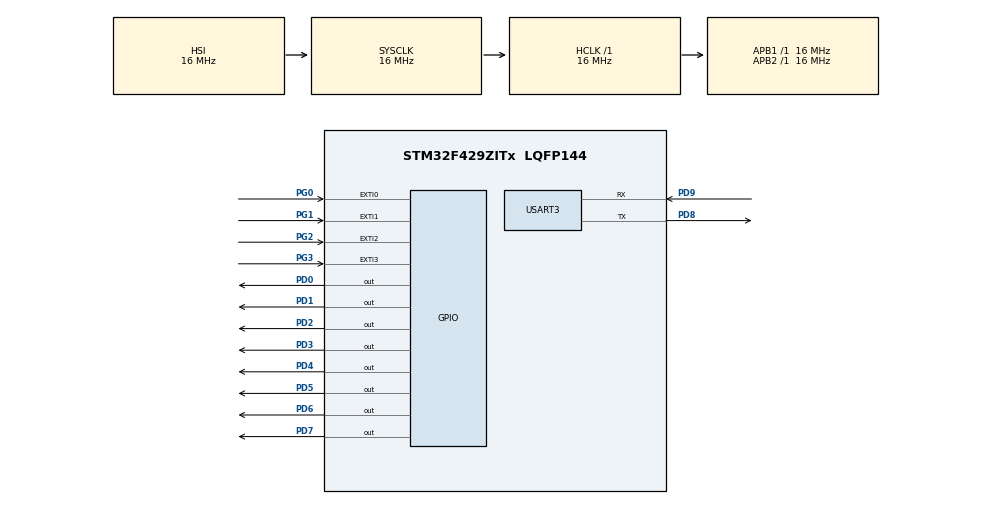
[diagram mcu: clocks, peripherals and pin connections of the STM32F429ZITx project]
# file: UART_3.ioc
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Mcu.Family=STM32F4
Mcu.Name=STM32F429ZITx
Mcu.Package=LQFP144
NVIC.EXTI0_IRQn=true\:0\:0\:false\:false\:true\:true\:true\:true
NVIC.EXTI1_IRQn=true\:0\:0\:false\:false\:true\:true\:true\:true
NVIC.EXTI2_IRQn=true\:0\:0\:false\:false\:true\:true\:true\:true
NVIC.EXTI3_IRQn=true\:0\:0\:false\:false\:true\:true\:true\:true
NVIC.PriorityGroup=NVIC_PRIORITYGROUP_4
NVIC.USART3_IRQn=true\:0\:0\:false\:false\:true\:true\:true\:true
PA13.Mode=Serial_Wire
PA13.Signal=SYS_JTMS-SWDIO
PA14.Mode=Serial_Wire
PA14.Signal=SYS_JTCK-SWCLK
PD0.GPIO_ModeDefaultOutputPP=GPIO_MODE_OUTPUT_PP
PD0.GPIO_PuPd=GPIO_PULLUP
PD0.GPIO_Speed=GPIO_SPEED_FREQ_HIGH
PD0.PinState=GPIO_PIN_RESET
PD0.Signal=GPIO_Output
PD1.GPIO_ModeDefaultOutputPP=GPIO_MODE_OUTPUT_PP
PD1.GPIO_PuPd=GPIO_PULLUP
PD1.GPIO_Speed=GPIO_SPEED_FREQ_HIGH
PD1.PinState=GPIO_PIN_RESET
PD1.Signal=GPIO_Output
PD2.GPIO_ModeDefaultOutputPP=GPIO_MODE_OUTPUT_PP
PD2.GPIO_PuPd=GPIO_PULLUP
PD2.GPIO_Speed=GPIO_SPEED_FREQ_HIGH
PD2.PinState=GPIO_PIN_RESET
PD2.Signal=GPIO_Output
PD3.GPIO_ModeDefaultOutputPP=GPIO_MODE_OUTPUT_PP
PD3.GPIO_PuPd=GPIO_PULLUP
PD3.GPIO_Speed=GPIO_SPEED_FREQ_HIGH
PD3.PinState=GPIO_PIN_RESET
PD3.Signal=GPIO_Output
PD4.GPIO_ModeDefaultOutputPP=GPIO_MODE_OUTPUT_PP
PD4.GPIO_PuPd=GPIO_PULLUP
PD4.GPIO_Speed=GPIO_SPEED_FREQ_HIGH
PD4.PinState=GPIO_PIN_RESET
PD4.Signal=GPIO_Output
PD5.GPIO_ModeDefaultOutputPP=GPIO_MODE_OUTPUT_PP
PD5.GPIO_PuPd=GPIO_PULLUP
PD5.GPIO_Speed=GPIO_SPEED_FREQ_HIGH
PD5.PinState=GPIO_PIN_RESET
PD5.Signal=GPIO_Output
PD6.GPIO_ModeDefaultOutputPP=GPIO_MODE_OUTPUT_PP
PD6.GPIO_PuPd=GPIO_PULLUP
PD6.GPIO_Speed=GPIO_SPEED_FREQ_HIGH
PD6.PinState=GPIO_PIN_RESET
PD6.Signal=GPIO_Output
PD7.GPIO_ModeDefaultOutputPP=GPIO_MODE_OUTPUT_PP
PD7.GPIO_PuPd=GPIO_PULLUP
PD7.GPIO_Speed=GPIO_SPEED_FREQ_HIGH
PD7.PinState=GPIO_PIN_RESET
PD7.Signal=GPIO_Output
PD8.Mode=Asynchronous
PD8.Signal=USART3_TX
PD9.Mode=Asynchronous
PD9.Signal=USART3_RX
PG0.GPIO_ModeDefaultEXTI=GPIO_MODE_IT_FALLING
PG0.GPIO_PuPd=GPIO_NOPULL
PG0.Signal=GPXTI0
PG1.GPIO_ModeDefaultEXTI=GPIO_MODE_IT_FALLING
PG1.GPIO_PuPd=GPIO_NOPULL
PG1.Signal=GPXTI1
PG2.GPIO_ModeDefaultEXTI=GPIO_MODE_IT_FALLING
PG2.GPIO_PuPd=GPIO_NOPULL
PG2.Signal=GPXTI2
PG3.GPIO_ModeDefaultEXTI=GPIO_MODE_IT_FALLING
PG3.GPIO_PuPd=GPIO_NOPULL
PG3.Signal=GPXTI3
ProjectManager.HeapSize=0x200
ProjectManager.StackSize=0x400
ProjectManager.TargetToolchain=STM32CubeIDE
RCC.AHBFreq_Value=16000000
RCC.APB1Freq_Value=16000000
RCC.APB2Freq_Value=16000000
RCC.CortexFreq_Value=16000000
RCC.HSE_VALUE=25000000
RCC.HSI_VALUE=16000000
RCC.LSE_VALUE=32768
RCC.SYSCLKFreq_VALUE=16000000
RCC.VCOOutputFreq_Value=192000000
USART3.VirtualMode=VM_ASYNC
board=custom

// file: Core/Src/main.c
/* USER CODE BEGIN Header */
/**
  ******************************************************************************
  * @file           : main.c
  * @brief          : Main program body
  ******************************************************************************
  * @attention
  *
  * Copyright (c) 2022 STMicroelectronics.
  * All rights reserved.
  *
  * This software is licensed under terms that can be found in the LICENSE file
  * in the root directory of this software component.
  * If no LICENSE file comes with this software, it is provided AS-IS.
  *
  ******************************************************************************
  */
/* USER CODE END Header */
#include "main.h"

/* USER CODE BEGIN PD */
#define TxBufferSize	(countof(TxBuffer)-1)
#define RxBufferSize	0XFF
#define countof(a)		(sizeof(a) / sizeof(*(a)))
/* USER CODE END PD */

UART_HandleTypeDef huart3;

/* USER CODE BEGIN PV */
uint8_t TxBuffer[] = "\n\rUART Example 3 (Transmission Success !!)\n\r\n\r";
uint8_t RxBuffer[RxBufferSize];
uint8_t TxBuffer_L[] = "L";
uint8_t TxBuffer_H[] = "H";

uint8_t RxBuffer_UART3[] = "0";
/* USER CODE END PV */

void SystemClock_Config(void);
static void MX_GPIO_Init(void);
static void MX_USART3_UART_Init(void);
/* USER CODE BEGIN PFP */
void LED_OnOff(int, int);
/* USER CODE END PFP */

int main(void)
{

  /* MCU Configuration--------------------------------------------------------*/

  /* Reset of all peripherals, Initializes the Flash interface and the Systick. */
  HAL_Init();

  /* Configure the system clock */
  SystemClock_Config();

  /* Initialize all configured peripherals */
  MX_GPIO_Init();
  MX_USART3_UART_Init();
  /* USER CODE BEGIN 2 */
  LED_OnOff(LED_ALL, 500);
  HAL_UART_Transmit(&huart3, (uint8_t*)TxBuffer, TxBufferSize, 0xFFFF);
  /* USER CODE END 2 */

  /* Infinite loop */
  /* USER CODE BEGIN WHILE */
  while (1)
  {
	  if(HAL_UART_Receive(&huart3, (uint8_t*)RxBuffer, 1, 5000) == HAL_OK)
	  {
		  HAL_UART_Transmit(&huart3, (uint8_t*)TxBuffer_H, 1, 0xFF);
		  HAL_Delay(10);

		  if(HAL_UART_Receive(&huart3, (uint8_t*)RxBuffer_UART3, 1, 0xFF) == HAL_OK){
			  if(strcmp(RxBuffer_UART3, "H") == 0) HAL_GPIO_WritePin(GPIO_LED, LED_ALL, GPIO_PIN_SET);
			  else if(strcmp(RxBuffer_UART3, "L") == 0) HAL_GPIO_WritePin(GPIO_LED, LED_ALL, GPIO_PIN_RESET);
		  }
		  //HAL_UART_Transmit(&huart3, (uint8_t*)RxBuffer, 1, 5000);
		  //HAL_UART_Transmit(&huart3, (uint8_t*)RxBuffer, 1, 5000);
	  }
    /* USER CODE END WHILE */

  }
}

void SystemClock_Config(void)
{
  RCC_OscInitTypeDef RCC_OscInitStruct = {0};
  RCC_ClkInitTypeDef RCC_ClkInitStruct = {0};

  /** Configure the main internal regulator output voltage
  */
  __HAL_RCC_PWR_CLK_ENABLE();
  __HAL_PWR_VOLTAGESCALING_CONFIG(PWR_REGULATOR_VOLTAGE_SCALE3);

  /** Initializes the RCC Oscillators according to the specified parameters
  * in the RCC_OscInitTypeDef structure.
  */
  RCC_OscInitStruct.OscillatorType = RCC_OSCILLATORTYPE_HSI;
  RCC_OscInitStruct.HSIState = RCC_HSI_ON;
  RCC_OscInitStruct.HSICalibrationValue = RCC_HSICALIBRATION_DEFAULT;
  RCC_OscInitStruct.PLL.PLLState = RCC_PLL_NONE;
  if (HAL_RCC_OscConfig(&RCC_OscInitStruct) != HAL_OK)
  {
    Error_Handler();
  }

  /** Initializes the CPU, AHB and APB buses clocks
  */
  RCC_ClkInitStruct.ClockType = RCC_CLOCKTYPE_HCLK|RCC_CLOCKTYPE_SYSCLK
                              |RCC_CLOCKTYPE_PCLK1|RCC_CLOCKTYPE_PCLK2;
  RCC_ClkInitStruct.SYSCLKSource = RCC_SYSCLKSOURCE_HSI;
  RCC_ClkInitStruct.AHBCLKDivider = RCC_SYSCLK_DIV1;
  RCC_ClkInitStruct.APB1CLKDivider = RCC_HCLK_DIV1;
  RCC_ClkInitStruct.APB2CLKDivider = RCC_HCLK_DIV1;

  if (HAL_RCC_ClockConfig(&RCC_ClkInitStruct, FLASH_LATENCY_0) != HAL_OK)
  {
    Error_Handler();
  }
}

static void MX_USART3_UART_Init(void)
{

  huart3.Instance = USART3;
  huart3.Init.BaudRate = 115200;
  huart3.Init.WordLength = UART_WORDLENGTH_8B;
  huart3.Init.StopBits = UART_STOPBITS_1;
  huart3.Init.Parity = UART_PARITY_NONE;
  huart3.Init.Mode = UART_MODE_TX_RX;
  huart3.Init.HwFlowCtl = UART_HWCONTROL_NONE;
  huart3.Init.OverSampling = UART_OVERSAMPLING_16;
  if (HAL_UART_Init(&huart3) != HAL_OK)
  {
    Error_Handler();
  }

}

static void MX_GPIO_Init(void)
{
  GPIO_InitTypeDef GPIO_InitStruct = {0};

  /* GPIO Ports Clock Enable */
  __HAL_RCC_GPIOG_CLK_ENABLE();
  __HAL_RCC_GPIOD_CLK_ENABLE();
  __HAL_RCC_GPIOA_CLK_ENABLE();

  /*Configure GPIO pin Output Level */
  HAL_GPIO_WritePin(GPIOD, GPIO_PIN_0|GPIO_PIN_1|GPIO_PIN_2|GPIO_PIN_3
                          |GPIO_PIN_4|GPIO_PIN_5|GPIO_PIN_6|GPIO_PIN_7, GPIO_PIN_RESET);

  /*Configure GPIO pins : PG0 PG1 PG2 PG3 */
  GPIO_InitStruct.Pin = GPIO_PIN_0|GPIO_PIN_1|GPIO_PIN_2|GPIO_PIN_3;
  GPIO_InitStruct.Mode = GPIO_MODE_IT_FALLING;
  GPIO_InitStruct.Pull = GPIO_NOPULL;
  HAL_GPIO_Init(GPIOG, &GPIO_InitStruct);

  /*Configure GPIO pins : PD0 PD1 PD2 PD3
                           PD4 PD5 PD6 PD7 */
  GPIO_InitStruct.Pin = GPIO_PIN_0|GPIO_PIN_1|GPIO_PIN_2|GPIO_PIN_3
                          |GPIO_PIN_4|GPIO_PIN_5|GPIO_PIN_6|GPIO_PIN_7;
  GPIO_InitStruct.Mode = GPIO_MODE_OUTPUT_PP;
  GPIO_InitStruct.Pull = GPIO_PULLUP;
  GPIO_InitStruct.Speed = GPIO_SPEED_FREQ_HIGH;
  HAL_GPIO_Init(GPIOD, &GPIO_InitStruct);

  /* EXTI interrupt init*/
  HAL_NVIC_SetPriority(EXTI0_IRQn, 0, 0);
  HAL_NVIC_EnableIRQ(EXTI0_IRQn);

  HAL_NVIC_SetPriority(EXTI1_IRQn, 0, 0);
  HAL_NVIC_EnableIRQ(EXTI1_IRQn);

  HAL_NVIC_SetPriority(EXTI2_IRQn, 0, 0);
  HAL_NVIC_EnableIRQ(EXTI2_IRQn);

  HAL_NVIC_SetPriority(EXTI3_IRQn, 0, 0);
  HAL_NVIC_EnableIRQ(EXTI3_IRQn);

}

/* USER CODE BEGIN 4 */
void LED_OnOff(int led, int interval)
{
	HAL_GPIO_WritePin(GPIO_LED, led, GPIO_PIN_SET);
	HAL_GPIO_WritePin(GPIO_LED_Nucleo, led, GPIO_PIN_SET);

	HAL_Delay(interval);

	HAL_GPIO_WritePin(GPIO_LED, led, GPIO_PIN_RESET);
	HAL_GPIO_WritePin(GPIO_LED_Nucleo, led, GPIO_PIN_RESET);
}
/* USER CODE END 4 */

void Error_Handler(void)
{
  __disable_irq();
  while (1)
  {
  }
}
